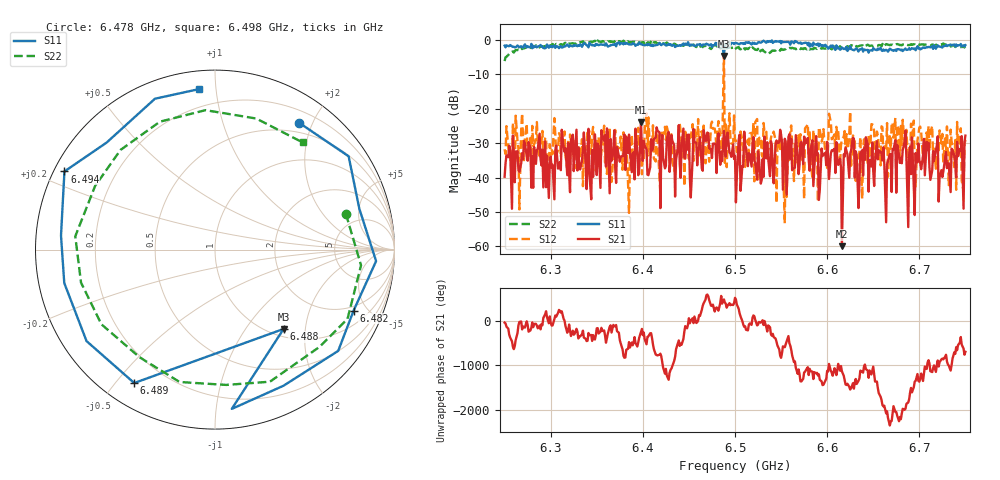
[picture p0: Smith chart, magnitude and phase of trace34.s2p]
# Hz S RI R 50
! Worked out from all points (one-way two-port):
!   401 points, 6.25 GHz to 6.75 GHz, reference 50 ohm
!   highest |S21| = -23.94 dB at 6.398 GHz (marker M1); lowest = -60.0 dB at 6.616 GHz (marker M2)
!   lowest |S11| = -4.7 dB at 6.488 GHz (marker M3), VSWR 3.81, Z = 57.1 - j76.6 ohm
!   |S11| at or under -10 dB: nowhere
!   |S22| runs from -6.1 to -0.2 dB; largest |S21 - S12| = 0.71
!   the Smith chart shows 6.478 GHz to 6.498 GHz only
!   S11 on the Smith chart (normalised r, x): 6.478 GHz: 0.36, +1.81; 6.482 GHz: 1.72, -4.06; 6.488 GHz: 1.14, -1.53; 6.489 GHz: 0.09, -0.56; 6.494 GHz: 0.03, +0.24; 6.498 GHz: 0.10, +0.90
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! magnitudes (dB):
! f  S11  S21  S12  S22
! 6.25 GHz  -1.6  -39.8  -31.8  -6.1
! 6.334 GHz  -2.0  -34.9  -28.8  -0.6
! 6.344 GHz  -1.5  -46.3  -33.1  -0.5
! 6.384 GHz  -1.1  -33.0  -42.1  -0.4
! 6.398 GHz  -1.3  -23.9  -28.8  -0.9
! 6.418 GHz  -0.9  -26.9  -39.8  -0.9
! 6.478 GHz  -1.4  -30.1  -25.8  -2.4
! 6.482 GHz  -1.5  -27.1  -23.6  -2.0
! 6.488 GHz  -4.7  -26.5  -3.2  -2.4
! 6.489 GHz  -1.2  -32.2  -35.7  -2.3
! 6.494 GHz  -0.5  -32.7  -21.3  -2.2
! 6.498 GHz  -0.9  -30.4  -30.2  -2.3
! 6.5 GHz  -1.0  -33.7  -29.2  -2.7
! 6.548 GHz  -0.5  -29.8  -29.0  -2.8
! 6.584 GHz  -1.8  -29.1  -40.5  -2.6
! 6.616 GHz  -2.2  -60.0  -28.9  -2.2
! 6.62 GHz  -2.7  -31.3  -32.4  -2.2
! 6.635 GHz  -2.8  -41.6  -32.7  -1.7
! 6.668 GHz  -2.5  -33.2  -28.0  -1.5
! 6.718 GHz  -2.5  -32.0  -37.4  -1.4
! 6.724 GHz  -2.1  -37.9  -30.1  -1.3
! 6.75 GHz  -1.5  -27.8  -29.0  -2.3
